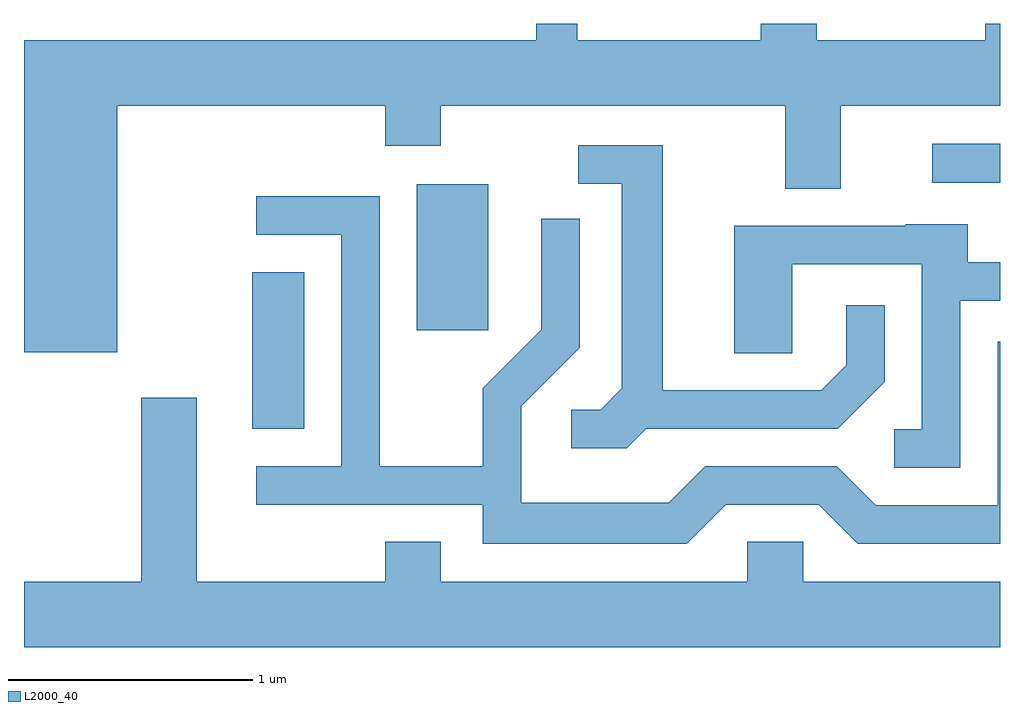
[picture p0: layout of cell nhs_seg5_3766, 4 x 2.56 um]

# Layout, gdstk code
import gdstk
lib = gdstk.Library(unit=1e-6, precision=1e-09)
def R(c, l, rs):  # rectangles x0, y0, x1, y1
    for r in rs: c.add(gdstk.rectangle(r[:2], r[2:], *l))
def P(c, l, *ps):  # polygons
    for p in ps: c.add(gdstk.Polygon(p, *l))
L2000_40 = (2000, 40)

nhs_seg5_3766 = lib.new_cell('nhs_seg5_3766')
R(nhs_seg5_3766, L2000_40, [(298.546,1404.411,298.759,1405.054), (299.221,1404.816,299.514,1405.414), (301.333,1405.421,301.611,1405.579)])
P(nhs_seg5_3766, L2000_40, [(297.994,1405.736),(299.091,1405.736),(299.091,1405.571),(299.319,1405.571),(299.319,1405.736),(300.731,1405.736),(300.731,1405.396),(300.959,1405.396),(300.959,1405.736),(301.611,1405.736),(301.611,1406.072),(301.551,1406.072),(301.551,1406.004),(300.859,1406.004),(300.859,1406.072),(300.631,1406.072),(300.631,1406.004),(299.879,1406.004),(299.879,1406.072),(299.711,1406.072),(299.711,1406.004),(297.611,1406.004),(297.611,1404.726),(297.994,1404.726)],
  [(300.162,1404.411),(300.947,1404.411),(301.139,1404.604),(301.139,1404.918),(300.981,1404.918),(300.981,1404.672),(300.879,1404.569),(300.229,1404.569),(300.229,1405.574),(299.883,1405.574),(299.883,1405.416),(300.061,1405.416),(300.061,1404.577),(299.974,1404.489),(299.853,1404.489),(299.853,1404.331),(300.082,1404.331)],
  [(300.487,1404.101),(300.869,1404.101),(301.029,1403.941),(301.611,1403.941),(301.611,1404.769),(301.601,1404.769),(301.601,1404.099),(301.102,1404.099),(300.942,1404.259),(300.404,1404.259),(300.254,1404.109),(299.649,1404.109),(299.649,1404.504),(299.889,1404.744),(299.889,1405.273),(299.731,1405.273),(299.731,1404.817),(299.491,1404.577),(299.491,1404.259),(299.069,1404.259),(299.069,1405.364),(298.563,1405.364),(298.563,1405.206),(298.911,1405.206),(298.911,1404.259),(298.563,1404.259),(298.563,1404.101),(299.491,1404.101),(299.491,1403.941),(300.327,1403.941)],
  [(301.449,1404.936),(301.611,1404.936),(301.611,1405.094),(301.479,1405.094),(301.479,1405.249),(301.225,1405.249),(301.225,1405.244),(300.521,1405.244),(300.521,1404.721),(300.759,1404.721),(300.759,1405.086),(301.291,1405.086),(301.291,1404.409),(301.178,1404.409),(301.178,1404.251),(301.449,1404.251)],
  [(301.611,1403.784),(300.804,1403.784),(300.804,1403.949),(300.576,1403.949),(300.576,1403.784),(299.319,1403.784),(299.319,1403.949),(299.091,1403.949),(299.091,1403.784),(298.319,1403.784),(298.319,1404.539),(298.091,1404.539),(298.091,1403.784),(297.611,1403.784),(297.611,1403.516),(301.611,1403.516)])

lib.write_gds('nhs_seg5_3766.gds')
